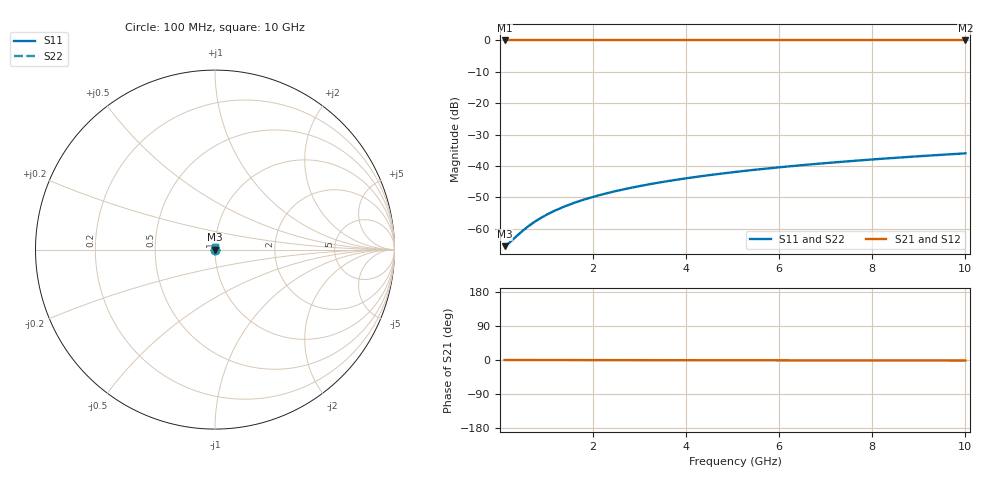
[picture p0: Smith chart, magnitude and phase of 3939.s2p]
# Hz S RI R 50.00
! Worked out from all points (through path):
!   100 points, 100 MHz to 10 GHz, reference 50 ohm
!   highest |S21| = 0.00 dB at 100 MHz (marker M1); lowest = 0.0 dB at 10 GHz (marker M2)
!   lowest |S11| = -65.6 dB at 100 MHz (marker M3), VSWR 1.00, Z = 50.1 + j0.0158 ohm
!   |S11| at or under -10 dB: start of sweep to end of sweep
!   |S22| runs from -65.6 to -36.0 dB; largest |S21 - S12| = 0
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1e8  0.000501 0.000158  0.9995 -0.000232  0.9995 -0.000232  0.000501 0.000158
2e8  0.000504 0.000315  0.9995 -0.000463  0.9995 -0.000463  0.000504 0.000315
4e8  0.000509 0.000631  0.9995 -0.000927  0.9995 -0.000927  0.000509 0.000631
5e8  0.000511 0.000789  0.9995 -0.00116  0.9995 -0.00116  0.000511 0.000789
6e8  0.000513 0.000946  0.9995 -0.00139  0.9995 -0.00139  0.000513 0.000946
7e8  0.000515 0.0011  0.9995 -0.00162  0.9995 -0.00162  0.000515 0.0011
9e8  0.000518 0.00142  0.9995 -0.00209  0.9995 -0.00209  0.000518 0.00142
1.1e9  0.000522 0.00173  0.9995 -0.00255  0.9995 -0.00255  0.000522 0.00173
1.3e9  0.000525 0.00205  0.9995 -0.00301  0.9995 -0.00301  0.000525 0.00205
1.5e9  0.000529 0.00237  0.9995 -0.00348  0.9995 -0.00348  0.000529 0.00237
1.8e9  0.000535 0.00284  0.9995 -0.00417  0.9995 -0.00417  0.000535 0.00284
2.1e9  0.000541 0.00331  0.9995 -0.00487  0.9995 -0.00487  0.000541 0.00331
2.5e9  0.00055 0.00394  0.9994 -0.00579  0.9994 -0.00579  0.00055 0.00394
2.9e9  0.00056 0.00457  0.9994 -0.00672  0.9994 -0.00672  0.00056 0.00457
3.4e9  0.000574 0.00536  0.9994 -0.00788  0.9994 -0.00788  0.000574 0.00536
4.2e9  0.000601 0.00663  0.9994 -0.00974  0.9994 -0.00974  0.000601 0.00663
5.1e9  0.000635 0.00805  0.9994 -0.0118  0.9994 -0.0118  0.000635 0.00805
5.9e9  0.000671 0.00931  0.9993 -0.0137  0.9993 -0.0137  0.000671 0.00931
6.7e9  0.000712 0.0106  0.9993 -0.0155  0.9993 -0.0155  0.000712 0.0106
7.5e9  0.000757 0.0118  0.9992 -0.0174  0.9992 -0.0174  0.000757 0.0118
8.4e9  0.000813 0.0133  0.9992 -0.0195  0.9992 -0.0195  0.000813 0.0133
1e10  0.000929 0.0158  0.999 -0.0232  0.999 -0.0232  0.000929 0.0158
